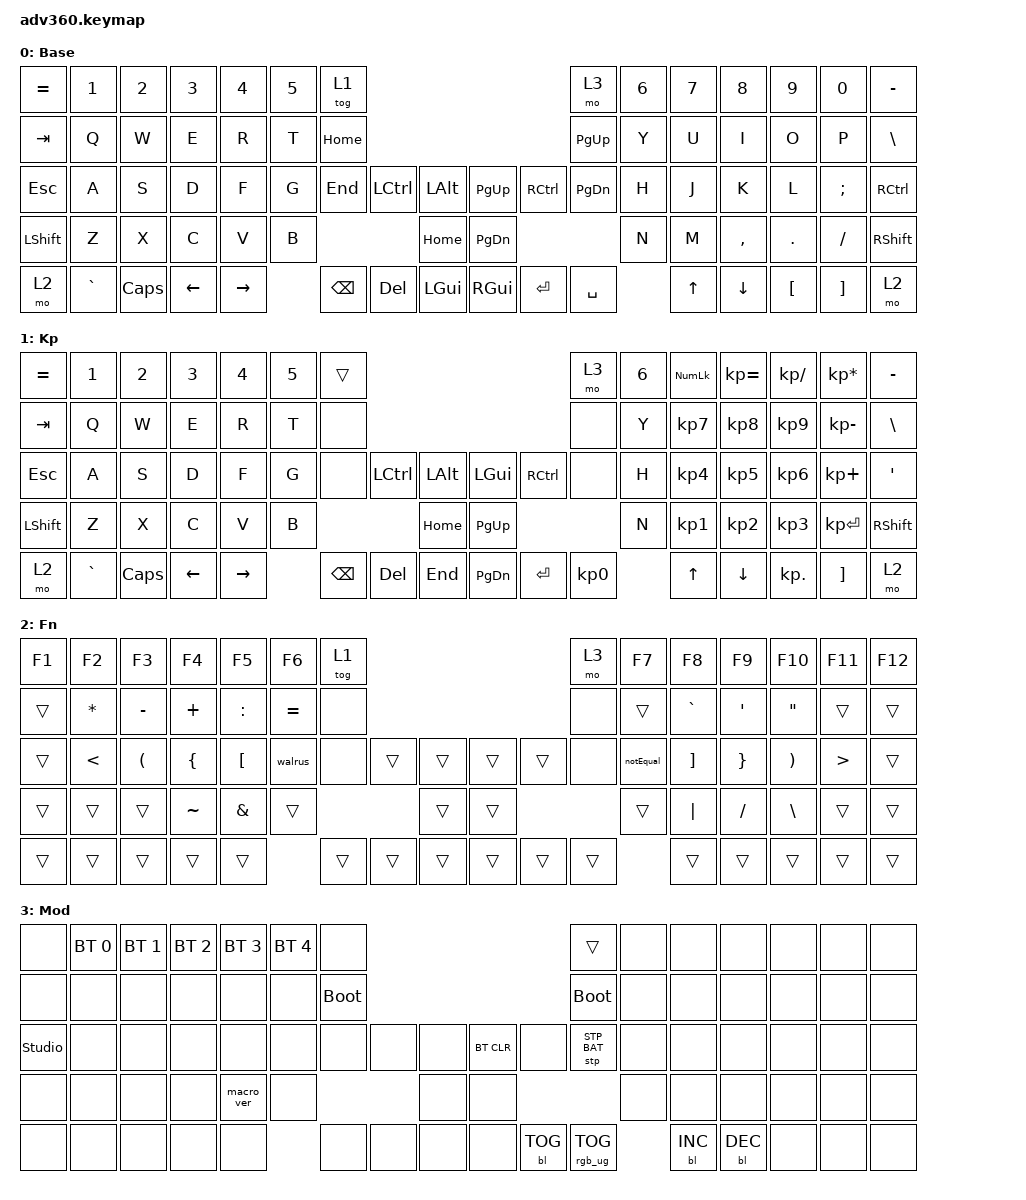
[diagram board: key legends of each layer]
#include <dt-bindings/zmk/stp.h>
#include <behaviors.dtsi>
#include <dt-bindings/zmk/backlight.h>
#include <dt-bindings/zmk/bt.h>
#include <dt-bindings/zmk/keys.h>
#include <dt-bindings/zmk/rgb.h>

/ {
    behaviors {
        #include "macros.dtsi"
      #include "version.dtsi"

        hm: homerow_mods {
            compatible = "zmk,behavior-hold-tap";
            label = "HOMEROW_MODS";
            #binding-cells = <2>;
            tapping-term-ms = <350>;
            flavor = "tap-preferred";
            bindings = <&kp>, <&kp>;

            quick-tap-ms = <25>;
            require-prior-idle-ms = <150>;
            retro-tap;
        };
    };

    macros {
        walrus: walrus {
            compatible = "zmk,behavior-macro";
            #binding-cells = <0>;
            bindings = <&kp COLON &kp EQUAL>;
            label = "WALRUS";
        };

        notEqual: notEqual {
            compatible = "zmk,behavior-macro";
            #binding-cells = <0>;
            bindings = <&kp EXCL &kp EQUAL>;
            label = "NOTEQUAL";
        };
    };

    keymap {
        compatible = "zmk,keymap";

        default_layer {
            display-name = "Base";
            bindings = <
&kp EQUAL       &kp N1     &kp N2    &kp N3    &kp N4     &kp N5  &tog 1                                                           &mo 3          &kp N6  &kp N7  &kp N8     &kp N9    &kp N0         &kp MINUS
&kp TAB         &kp Q      &kp W     &kp E     &kp R      &kp T   &kp HOME                                                         &kp PG_UP      &kp Y   &kp U   &kp I      &kp O     &kp P          &kp BSLH
&kp ESC         &kp A      &kp S     &kp D     &kp F      &kp G   &kp END   &kp LCTRL  &kp LALT          &kp PAGE_UP    &kp RCTRL  &kp PAGE_DOWN  &kp H   &kp J   &kp K      &kp L     &kp SEMICOLON  &kp RIGHT_CONTROL
&kp LEFT_SHIFT  &kp Z      &kp X     &kp C     &kp V      &kp B                        &kp HOME          &kp PAGE_DOWN                            &kp N   &kp M   &kp COMMA  &kp DOT   &kp FSLH       &kp RSHFT
&mo 2           &kp GRAVE  &kp CAPS  &kp LEFT  &kp RIGHT          &kp BSPC  &kp DEL    &kp LEFT_GUI      &kp RIGHT_GUI  &kp ENTER  &kp SPACE              &kp UP  &kp DOWN   &kp LBKT  &kp RBKT       &mo 2
            >;
        };

        keypad {
            display-name = "Kp";
            bindings = <
&kp EQUAL  &kp N1     &kp N2    &kp N3    &kp N4     &kp N5  &trans                                                   &mo 3      &kp N6  &kp KP_NUM  &kp KP_EQUAL  &kp KP_DIVIDE  &kp KP_MULTIPLY  &kp MINUS
&kp TAB    &kp Q      &kp W     &kp E     &kp R      &kp T   &none                                                    &none      &kp Y   &kp KP_N7   &kp KP_N8     &kp KP_N9      &kp KP_MINUS     &kp BSLH
&kp ESC    &kp A      &kp S     &kp D     &kp F      &kp G   &none     &kp LCTRL  &kp LALT      &kp LGUI   &kp RCTRL  &none      &kp H   &kp KP_N4   &kp KP_N5     &kp KP_N6      &kp KP_PLUS      &kp SQT
&kp LSHFT  &kp Z      &kp X     &kp C     &kp V      &kp B                        &kp HOME      &kp PG_UP                        &kp N   &kp KP_N1   &kp KP_N2     &kp KP_N3      &kp KP_ENTER     &kp RSHFT
&mo 2      &kp GRAVE  &kp CAPS  &kp LEFT  &kp RIGHT          &kp BSPC  &kp DEL    &kp END       &kp PG_DN  &kp ENTER  &kp KP_N0          &kp UP      &kp DOWN      &kp KP_DOT     &kp RBKT         &mo 2
            >;
        };

        fn {
            display-name = "Fn";
            bindings = <
&kp F1  &kp F2         &kp F3                &kp F4          &kp F5            &kp F6     &tog 1                                      &mo 3   &kp F7     &kp F8             &kp F9           &kp F10                &kp F11           &kp F12
&trans  &kp ASTERISK   &kp MINUS             &kp PLUS        &kp COLON         &kp EQUAL  &none                                       &none   &trans     &kp GRAVE          &kp SQT          &kp DOUBLE_QUOTES      &trans            &trans
&trans  &kp LESS_THAN  &kp LEFT_PARENTHESIS  &kp LEFT_BRACE  &kp LEFT_BRACKET  &walrus    &none   &trans  &trans      &trans  &trans  &none   &notEqual  &kp RIGHT_BRACKET  &kp RIGHT_BRACE  &kp RIGHT_PARENTHESIS  &kp GREATER_THAN  &trans
&trans  &trans         &trans                &kp TILDE       &kp AMPERSAND     &trans                     &trans      &trans                  &trans     &kp PIPE           &kp SLASH        &kp BACKSLASH          &trans            &trans
&trans  &trans         &trans                &trans          &trans                       &trans  &trans  &trans      &trans  &trans  &trans             &trans             &trans           &trans                 &trans            &trans
            >;
        };

        mod {
            display-name = "Mod";
            bindings = <
&none           &bt BT_SEL 0  &bt BT_SEL 1  &bt BT_SEL 2  &bt BT_SEL 3  &bt BT_SEL 4  &none                                                  &trans           &none  &none       &none       &none  &none  &none
&none           &none         &none         &none         &none         &none         &bootloader                                            &bootloader      &none  &none       &none       &none  &none  &none
&studio_unlock  &none         &none         &none         &none         &none         &none        &none  &none      &bt BT_CLR  &none       &stp STP_BAT     &none  &none       &none       &none  &none  &none
&none           &none         &none         &none         &macro_ver    &none                             &none      &none                                    &none  &none       &none       &none  &none  &none
&none           &none         &none         &none         &none                       &none        &none  &none      &none       &bl BL_TOG  &rgb_ug RGB_TOG         &bl BL_INC  &bl BL_DEC  &none  &none  &none
            >;
        };

        extra1 {
            display-name = "Red";
            status = "reserved";
        };

        extra2 {
            display-name = "Purple";
            status = "reserved";
        };

        extra3 {
            display-name = "Cyan";
            status = "reserved";
        };

        extra4 {
            display-name = "Yellow";
            status = "reserved";
        };
    };
};
